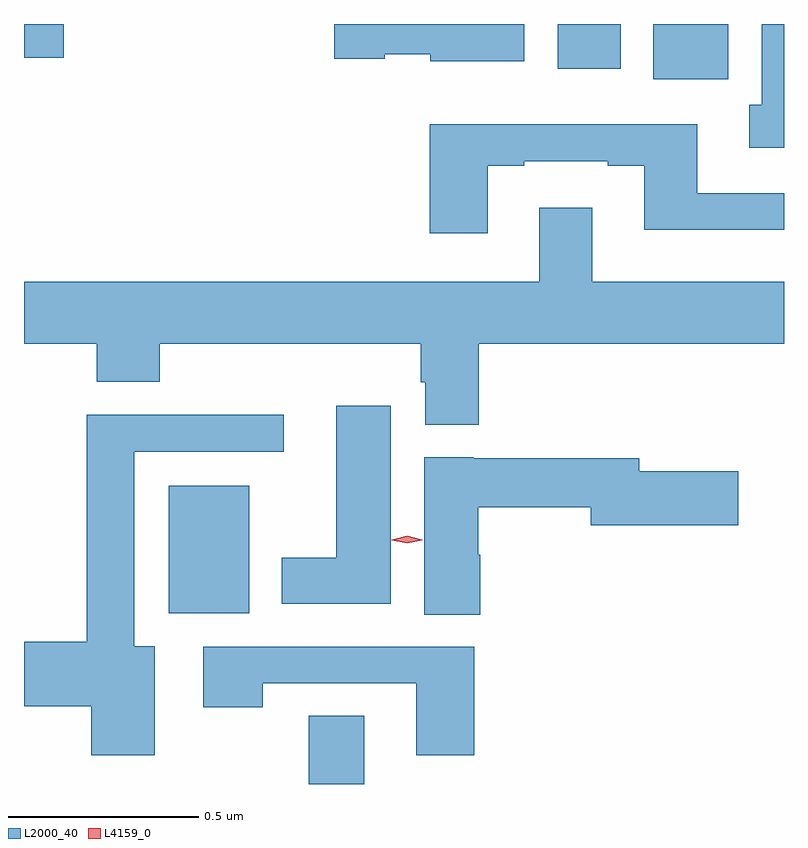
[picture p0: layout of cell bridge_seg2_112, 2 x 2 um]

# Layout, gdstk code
import gdstk
lib = gdstk.Library(unit=1e-6, precision=1e-09)
def R(c, l, rs):  # rectangles x0, y0, x1, y1
    for r in rs: c.add(gdstk.rectangle(r[:2], r[2:], *l))
def P(c, l, *ps):  # polygons
    for p in ps: c.add(gdstk.Polygon(p, *l))
L2000_40 = (2000, 40)
L4159_0 = (4159, 0)

bridge_seg2_112 = lib.new_cell('bridge_seg2_112')
R(bridge_seg2_112, L2000_40, [(591.064,638.486,591.211,638.666), (590.696,638.936,590.908,639.271), (591.971,640.34,592.168,640.486), (591.719,640.368,591.886,640.486), (590.315,640.397,590.419,640.486)])
P(bridge_seg2_112, L2000_40, [(592.315,640.486),(592.256,640.486),(592.256,640.274),(592.223,640.274),(592.223,640.161),(592.315,640.161)],
  [(591.631,640.486),(591.132,640.486),(591.132,640.394),(591.264,640.394),(591.264,640.406),(591.384,640.406),(591.384,640.388),(591.631,640.388)],
  [(591.535,640.113),(591.631,640.113),(591.631,640.125),(591.851,640.125),(591.851,640.113),(591.947,640.113),(591.947,639.944),(592.315,639.944),(592.315,640.041),(592.087,640.041),(592.087,640.222),(591.383,640.222),(591.383,639.936),(591.535,639.936)],
  [(590.315,639.644),(590.507,639.644),(590.507,639.545),(590.672,639.545),(590.672,639.644),(591.359,639.644),(591.359,639.543),(591.371,639.543),(591.371,639.431),(591.512,639.431),(591.512,639.644),(592.315,639.644),(592.315,639.808),(591.811,639.808),(591.811,640.003),(591.671,640.003),(591.671,639.808),(590.315,639.808)],
  [(591.28,639.481),(591.137,639.481),(591.137,639.082),(590.993,639.082),(590.993,638.96),(591.28,638.96)],
  [(590.659,638.848),(590.605,638.848),(590.605,639.36),(590.998,639.36),(590.998,639.458),(590.48,639.458),(590.48,638.861),(590.315,638.861),(590.315,638.69),(590.492,638.69),(590.492,638.562),(590.659,638.562)],
  [(591.515,639.089),(591.51,639.089),(591.51,639.214),(591.806,639.214),(591.806,639.167),(592.195,639.167),(592.195,639.309),(591.934,639.309),(591.934,639.343),(591.498,639.343),(591.498,639.346),(591.368,639.346),(591.368,638.932),(591.515,638.932)],
  [(591.5,638.847),(590.787,638.847),(590.787,638.688),(590.943,638.688),(590.943,638.751),(591.347,638.751),(591.347,638.562),(591.5,638.562)])
P(bridge_seg2_112, L4159_0, [(591.323,639.119),(591.283,639.128),(591.283,639.129),(591.283,639.129),(591.323,639.139),(591.363,639.129),(591.363,639.129),(591.363,639.128)])

lib.write_gds('bridge_seg2_112.gds')
